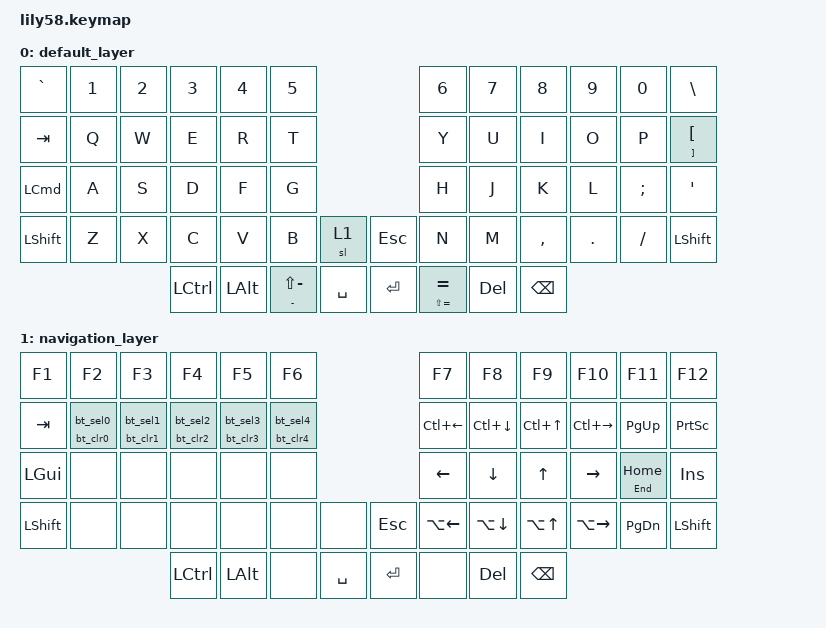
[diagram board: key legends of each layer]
/*
 * Copyright (c) 2020 The ZMK Contributors
 *
 * SPDX-License-Identifier: MIT
 */

#include <behaviors.dtsi>
#include <dt-bindings/zmk/bt.h>
#include <dt-bindings/zmk/keys.h>

/ {
    macros {
        bt_clr0: bt_clr0 {
            compatible = "zmk,behavior-macro";
            #binding-cells = <0>;
            bindings = <&bt BT_SEL 0 &bt BT_CLR>;
            label = "BT_CLR0";
        };

        bt_clr1: bt_clr1 {
            compatible = "zmk,behavior-macro";
            #binding-cells = <0>;
            bindings = <&bt BT_SEL 1 &bt BT_CLR>;
            label = "BT_CLR1";
        };

        bt_clr2: bt_clr2 {
            compatible = "zmk,behavior-macro";
            #binding-cells = <0>;
            bindings = <&bt BT_SEL 2 &bt BT_CLR>;
            label = "BT_CLR2";
        };

        bt_clr3: bt_clr3 {
            compatible = "zmk,behavior-macro";
            #binding-cells = <0>;
            bindings = <&bt BT_SEL 3 &bt BT_CLR>;
            label = "BT_CLR3";
        };

        bt_clr4: bt_clr4 {
            compatible = "zmk,behavior-macro";
            #binding-cells = <0>;
            bindings = <&bt BT_SEL 4 &bt BT_CLR>;
            label = "BT_CLR4";
        };

        bt_sel0: bt_sel0 {
            compatible = "zmk,behavior-macro";
            #binding-cells = <0>;
            bindings = <&bt BT_SEL 0>;
            label = "BT_SEL0";
        };

        bt_sel1: bt_sel1 {
            compatible = "zmk,behavior-macro";
            #binding-cells = <0>;
            bindings = <&bt BT_SEL 1>;
            label = "BT_SEL1";
        };

        bt_sel2: bt_sel2 {
            compatible = "zmk,behavior-macro";
            #binding-cells = <0>;
            bindings = <&bt BT_SEL 2>;
            label = "BT_SEL2";
        };

        bt_sel3: bt_sel3 {
            compatible = "zmk,behavior-macro";
            #binding-cells = <0>;
            bindings = <&bt BT_SEL 3>;
            label = "BT_SEL3";
        };

        bt_sel4: bt_sel4 {
            compatible = "zmk,behavior-macro";
            #binding-cells = <0>;
            bindings = <&bt BT_SEL 4>;
            label = "BT_SEL4";
        };
    };

    behaviors {
        bt_sel_clr_0: bt_sel_clr_0 {
            compatible = "zmk,behavior-hold-tap";
            label = "BT_SEL_CLR_0";
            bindings = <&bt_clr0>, <&bt_sel0>;

            #binding-cells = <2>;
            tapping-term-ms = <3000>;
        };

        bt_sel_clr_1: bt_sel_clr_1 {
            compatible = "zmk,behavior-hold-tap";
            label = "BT_SEL_CLR_1";
            bindings = <&bt_clr1>, <&bt_sel1>;

            #binding-cells = <2>;
            tapping-term-ms = <3000>;
        };

        bt_sel_clr_2: bt_sel_clr_2 {
            compatible = "zmk,behavior-hold-tap";
            label = "BT_SEL_CLR_2";
            bindings = <&bt_clr2>, <&bt_sel2>;

            #binding-cells = <2>;
            tapping-term-ms = <3000>;
        };

        bt_sel_clr_3: bt_sel_clr_3 {
            compatible = "zmk,behavior-hold-tap";
            label = "BT_SEL_CLR_3";
            bindings = <&bt_clr3>, <&bt_sel3>;

            #binding-cells = <2>;
            tapping-term-ms = <3000>;
        };

        bt_sel_clr_4: bt_sel_clr_4 {
            compatible = "zmk,behavior-hold-tap";
            label = "BT_SEL_CLR_4";
            bindings = <&bt_clr4>, <&bt_sel4>;

            #binding-cells = <2>;
            tapping-term-ms = <3000>;
        };
    };

    keymap {
        compatible = "zmk,keymap";

        default_layer {
            // ------------------------------------------------------------------------------------------------------------
            // |  ESC  |  1  |  2  |  3   |  4   |  5   |                   |  6   |  7    |  8    |  9   |   0   |   `   |
            // |  TAB  |  Q  |  W  |  E   |  R   |  T   |                   |  Y   |  U    |  I    |  O   |   P   |   -   |
            // |  CTRL |  A  |  S  |  D   |  F   |  G   |                   |  H   |  J    |  K    |  L   |   ;   |   '   |
            // | SHIFT |  Z  |  X  |  C   |  V   |  B   |   "["  |  |  "]"  |  N   |  M    |  ,    |  .   |   /   | SHIFT |
            //                     | ALT  | GUI  | LOWER|  SPACE |  | ENTER | RAISE| BSPC  | GUI   |

            bindings = <
&kp GRAVE  &kp N1  &kp N2  &kp N3     &kp N4    &kp N5                                        &kp N6               &kp N7      &kp N8         &kp N9   &kp N0    &kp BACKSLASH
&kp TAB    &kp Q   &kp W   &kp E      &kp R     &kp T                                         &kp Y                &kp U       &kp I          &kp O    &kp P     &mt RIGHT_BRACKET LEFT_BRACKET
&kp LCMD   &kp A   &kp S   &kp D      &kp F     &kp G                                         &kp H                &kp J       &kp K          &kp L    &kp SEMI  &kp SQT
&kp LSHFT  &kp Z   &kp X   &kp C      &kp V     &kp B                &sl 1        &kp ESCAPE  &kp N                &kp M       &kp COMMA      &kp DOT  &kp FSLH  &kp LEFT_SHIFT
                           &kp LCTRL  &kp LALT  &mt MINUS LS(MINUS)  &kp SPACE    &kp RET     &mt LS(EQUAL) EQUAL  &kp DELETE  &kp BACKSPACE
            >;
        };

        navigation_layer {
            bindings = <
&kp F1     &kp F2             &kp F3             &kp F4             &kp F5             &kp F6                                      &kp F7              &kp F8              &kp F9            &kp F10              &kp F11        &kp F12
&kp TAB    &bt_sel_clr_0 0 0  &bt_sel_clr_1 0 0  &bt_sel_clr_2 0 0  &bt_sel_clr_3 0 0  &bt_sel_clr_4 0 0                           &kp LC(LEFT_ARROW)  &kp LC(DOWN_ARROW)  &kp LC(UP_ARROW)  &kp LC(RIGHT_ARROW)  &kp PAGE_UP    &kp PRINTSCREEN
&kp LGUI   &none              &none              &none              &none              &none                                       &kp LEFT_ARROW      &kp DOWN_ARROW      &kp UP_ARROW      &kp RIGHT_ARROW      &mt END HOME   &kp INSERT
&kp LSHFT  &none              &none              &none              &none              &none              &none        &kp ESCAPE  &kp LA(LEFT_ARROW)  &kp LA(DOWN_ARROW)  &kp LA(UP_ARROW)  &kp LA(RIGHT_ARROW)  &kp PAGE_DOWN  &kp LSHFT
                                                 &kp LCTRL          &kp LALT           &none              &kp SPACE    &kp ENTER   &none               &kp DELETE          &kp BACKSPACE
            >;
        };
    };
};
